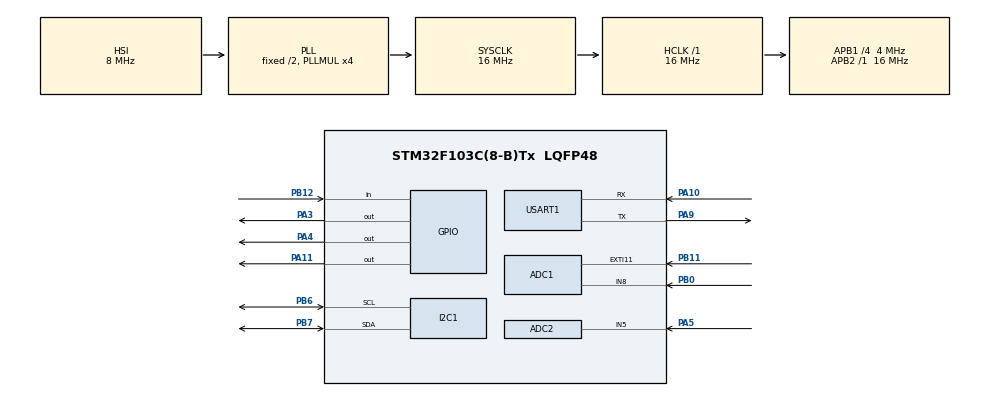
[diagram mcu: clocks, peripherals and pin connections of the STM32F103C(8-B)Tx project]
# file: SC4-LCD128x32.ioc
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ADC1.Channel-1\#ChannelRegularConversion=ADC_CHANNEL_8
ADC1.NbrOfConversionFlag=1
ADC1.Rank-1\#ChannelRegularConversion=1
ADC1.SamplingTime-1\#ChannelRegularConversion=ADC_SAMPLETIME_7CYCLES_5
ADC1.master=1
ADC2.Channel-0\#ChannelRegularConversion=ADC_CHANNEL_5
ADC2.NbrOfConversionFlag=1
ADC2.Rank-0\#ChannelRegularConversion=1
ADC2.SamplingTime-0\#ChannelRegularConversion=ADC_SAMPLETIME_1CYCLE_5
I2C1.I2C_Mode=I2C_Fast
Mcu.Family=STM32F1
Mcu.Name=STM32F103C(8-B)Tx
Mcu.Package=LQFP48
NVIC.ADC1_2_IRQn=true\:0\:0\:false\:false\:true\:true\:true
NVIC.PriorityGroup=NVIC_PRIORITYGROUP_4
NVIC.TIM3_IRQn=true\:1\:0\:true\:false\:true\:true\:true
PA10.Mode=Asynchronous
PA10.Signal=USART1_RX
PA11.Signal=GPIO_Output
PA3.Signal=GPIO_Output
PA4.Signal=GPIO_Output
PA5.Signal=ADCx_IN5
PA9.Mode=Asynchronous
PA9.Signal=USART1_TX
PB0.Signal=ADCx_IN8
PB11.Signal=GPXTI11
PB12.Signal=GPIO_Input
PB6.Mode=I2C
PB6.Signal=I2C1_SCL
PB7.Mode=I2C
PB7.Signal=I2C1_SDA
ProjectManager.HeapSize=0x200
ProjectManager.StackSize=0x400
ProjectManager.TargetToolchain=STM32CubeIDE
RCC.AHBFreq_Value=16000000
RCC.APB1CLKDivider=RCC_HCLK_DIV4
RCC.APB1Freq_Value=4000000
RCC.APB1TimFreq_Value=8000000
RCC.APB2Freq_Value=16000000
RCC.APB2TimFreq_Value=16000000
RCC.HCLKFreq_Value=16000000
RCC.PLLMUL=RCC_PLL_MUL4
RCC.SYSCLKFreq_VALUE=16000000
RCC.SYSCLKSource=RCC_SYSCLKSOURCE_PLLCLK
RCC.TimSys_Div=SYSTICK_CLKSOURCE_HCLK_DIV8
RCC.USBFreq_Value=16000000
SH.ADCx_IN5.0=ADC2_IN5,IN5
SH.ADCx_IN8.0=ADC1_IN8,IN8
TIM3.AutoReloadPreload=TIM_AUTORELOAD_PRELOAD_ENABLE
TIM3.CounterMode=TIM_COUNTERMODE_DOWN
TIM3.Period=5000
TIM3.Prescaler=8
USART1.VirtualMode=VM_ASYNC
VP_SYS_VS_ND.Mode=No_Debug
VP_TIM3_VS_ClockSourceINT.Mode=Internal
board=custom

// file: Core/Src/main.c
/* USER CODE BEGIN Header */
/**
  ******************************************************************************
  * @file           : main.c
  * @brief          : Main program body
  ******************************************************************************
  * @attention
  *
  * <h2><center>&copy; Copyright (c) 2020 STMicroelectronics.
  * All rights reserved.</center></h2>
  *
  * This software component is licensed by ST under BSD 3-Clause license,
  * the "License"; You may not use this file except in compliance with the
  * License. You may obtain a copy of the License at:
  *                        opensource.org/licenses/BSD-3-Clause
  *
  ******************************************************************************
  */
/* USER CODE END Header */
#include "main.h"

/* USER CODE BEGIN Includes */
#ifdef DISPLAY_ENABLE
#include "ssd1306.h"
#include "ssd1306_fonts.h"
#endif
#include <stdio.h>

/* USER CODE END Includes */

ADC_HandleTypeDef hadc1;
ADC_HandleTypeDef hadc2;

I2C_HandleTypeDef hi2c1;

TIM_HandleTypeDef htim3;

UART_HandleTypeDef huart1;

/* USER CODE BEGIN PV */
char counterPP[20];
_Bool initFlag = 1;
uint32_t counterCC = 0, counterALL = 0;
uint16_t adcResult = 0;
uint16_t spectrData[2050] = {0};
uint16_t spectrCRC;

/* USER CODE END PV */

void SystemClock_Config(void);
static void MX_GPIO_Init(void);
static void MX_ADC1_Init(void);
static void MX_I2C1_Init(void);
static void MX_USART1_UART_Init(void);
static void MX_TIM3_Init(void);
static void MX_ADC2_Init(void);

int main(void)
{

  /* MCU Configuration--------------------------------------------------------*/

  /* Reset of all peripherals, Initializes the Flash interface and the Systick. */
  HAL_Init();

  /* Configure the system clock */
  SystemClock_Config();

  /* Initialize all configured peripherals */
  MX_GPIO_Init();
  MX_ADC1_Init();
  MX_I2C1_Init();
  MX_USART1_UART_Init();
  MX_TIM3_Init();
  MX_ADC2_Init();
  /* USER CODE BEGIN 2 */
  HAL_ADCEx_Calibration_Start(&hadc1);
  /* USER CODE END 2 */

  /* Infinite loop */
  /* USER CODE BEGIN WHILE */
  int j = 0;
  uint8_t btCommand[10];
  uint8_t prefix[3] = {'<', 'B', '>'};
  uint8_t lowSpectr, highSpectr;
#ifdef DISPLAY_ENABLE
  ssd1306_Init();
#endif
  uint16_t tmpData;
  uint32_t initDelay, oldTimeAll, oldTime = HAL_GetTick();
  initDelay = oldTime;
  oldTimeAll = oldTime;
  counterCC = 0;
  HAL_GPIO_WritePin(GPIOA, LED_PIN, GPIO_PIN_SET); // LED on.
  HAL_TIM_Base_Start_IT(&htim3); // Start timer for turn off LED

  while (1)
  {
#ifdef DISPLAY_ENABLE
	  sprintf(counterPP, "CPS:%lu CNT:%lu", counterCC / ((HAL_GetTick() - oldTime) / 1000), counterALL);
	  counterCC = 0;
	  oldTime = HAL_GetTick();
	  ssd1306_SetCursor(0, 0);
	  ssd1306_WriteString(counterPP, Font_6x8, 0x01);
#endif
	  int ttt, max = 1;
	  for ( int i = 2; i < 2050; i++) {
		  ttt = spectrData[i];
		  if ((float) ttt > max)
			  max = ttt;
	  }
#ifdef DISPLAY_ENABLE
	  sprintf(counterPP, "AVG:%lu MAX:%d", counterALL / ((HAL_GetTick() - oldTimeAll) / 1000), max);
	  ssd1306_SetCursor(0, 8);
	  ssd1306_WriteString(counterPP, Font_6x8, 0x01);

	  sprintf(counterPP, "TM:%lu",(HAL_GetTick() - oldTimeAll) / 1000);
	  ssd1306_SetCursor(0, 16);
	  ssd1306_WriteString(counterPP, Font_6x8, 0x01);
#endif
	/*
	  //
	  // Гистограмма для LCD 64x128.
	  //
	  int k = 0;
	  for ( int i = 0; i < 119; i++) {
		  sptDat =(float) ((spectrData[k++] + spectrData[k++] + spectrData[k++]) * 64 / max);
		  //sptDat = (float) (log2f((float) spectrData[i]) * 64 / max);
		  ssd1306_Line(0, i + 9, 64, i + 9, 0x00);
		  ssd1306_Line(0, i + 9, sptDat, i + 9, 0x01);
	  }
	  */
#ifdef DISPLAY_ENABLE
	  ssd1306_UpdateScreen();
#endif
	  // Delay after on.
	  if (initFlag && (HAL_GetTick() - initDelay > INIT_TIME)) {
		  initFlag = 0;
		  HAL_ADC_Start_IT(&hadc1);  // Init ADC.
		  oldTimeAll = HAL_GetTick();
	  }
	  /* Status JDY-23, BT connected ? */
#ifdef DISPLAY_ENABLE
	  ssd1306_SetCursor(0, 24);
#endif
	  if ( HAL_GPIO_ReadPin(GPIOB, GPIO_PIN_12) == 1 ) {
#ifdef DISPLAY_ENABLE
		  ssd1306_WriteString("BT: connect   ", Font_6x8, 0x01);
#endif
		  // Control from BT
		  if(HAL_UART_Receive(&huart1, btCommand, 1, 10) == HAL_OK) {
			  if ( btCommand[0] == 'C' ) { // Clear all measurement.
				  for (int i = 0; i < 2050; i++) {
					  spectrData[i] = 0;
				  }
				  oldTimeAll = HAL_GetTick();
				  counterALL = 0;
			  }
		  }

		  j = 0;
		  // Transmit data over BT.
		  HAL_UART_Transmit(&huart1, prefix, 3, 1000); // Start sequence.
		  spectrData[0] = (uint16_t) ((HAL_GetTick() - oldTimeAll) / 1000); // Specter collection time.
		  spectrData[1] = (uint16_t) (((HAL_GetTick() - oldTimeAll) / 1000) >> 16);
		  spectrData[2] = (uint16_t) (counterALL & 0xFFFF);
		  spectrData[3] = (uint16_t) (counterALL >> 16);
		  spectrCRC = 0;
		  HAL_Delay(TRANSMIT_DALAY);  // Increase time delay if transmit error.
		  for ( int i = 0; i < 1040; i++) {
			  lowSpectr = spectrData[i] & 0xFF;
			  highSpectr = (spectrData[i] & 0xFF00) >> 8;
			  spectrCRC = spectrCRC + lowSpectr + highSpectr;
			  HAL_UART_Transmit(&huart1, &highSpectr, 1, 1000);
			  HAL_UART_Transmit(&huart1, &lowSpectr, 1, 1000);
			  if ( j++ >= 9) {
				  HAL_Delay(TRANSMIT_DALAY);  // Increase time delay if transmit error.
				  j = 0;
			  }
		  }
		  /* Transmit CRC */
		  HAL_Delay(TRANSMIT_DALAY);
		  lowSpectr = spectrCRC & 0xFF;
		  highSpectr = (spectrCRC & 0xFF00) >> 8;
		  HAL_UART_Transmit(&huart1, &highSpectr, 1, 1000);
		  HAL_UART_Transmit(&huart1, &lowSpectr, 1, 1000);
	  } else {
#ifdef DISPLAY_ENABLE
		  HAL_Delay(500);
		  ssd1306_WriteString("BT: disconnect", Font_6x8, 0x01);
#endif
	  }
	  HAL_Delay(500);

    /* USER CODE END WHILE */

  }
}

void SystemClock_Config(void)
{
  RCC_OscInitTypeDef RCC_OscInitStruct = {0};
  RCC_ClkInitTypeDef RCC_ClkInitStruct = {0};
  RCC_PeriphCLKInitTypeDef PeriphClkInit = {0};

  /** Initializes the RCC Oscillators according to the specified parameters
  * in the RCC_OscInitTypeDef structure.
  */
  RCC_OscInitStruct.OscillatorType = RCC_OSCILLATORTYPE_HSI;
  RCC_OscInitStruct.HSIState = RCC_HSI_ON;
  RCC_OscInitStruct.HSICalibrationValue = RCC_HSICALIBRATION_DEFAULT;
  RCC_OscInitStruct.PLL.PLLState = RCC_PLL_ON;
  RCC_OscInitStruct.PLL.PLLSource = RCC_PLLSOURCE_HSI_DIV2;
  RCC_OscInitStruct.PLL.PLLMUL = RCC_PLL_MUL4;
  if (HAL_RCC_OscConfig(&RCC_OscInitStruct) != HAL_OK)
  {
    Error_Handler();
  }
  /** Initializes the CPU, AHB and APB buses clocks
  */
  RCC_ClkInitStruct.ClockType = RCC_CLOCKTYPE_HCLK|RCC_CLOCKTYPE_SYSCLK
                              |RCC_CLOCKTYPE_PCLK1|RCC_CLOCKTYPE_PCLK2;
  RCC_ClkInitStruct.SYSCLKSource = RCC_SYSCLKSOURCE_PLLCLK;
  RCC_ClkInitStruct.AHBCLKDivider = RCC_SYSCLK_DIV1;
  RCC_ClkInitStruct.APB1CLKDivider = RCC_HCLK_DIV4;
  RCC_ClkInitStruct.APB2CLKDivider = RCC_HCLK_DIV1;

  if (HAL_RCC_ClockConfig(&RCC_ClkInitStruct, FLASH_LATENCY_0) != HAL_OK)
  {
    Error_Handler();
  }
  PeriphClkInit.PeriphClockSelection = RCC_PERIPHCLK_ADC;
  PeriphClkInit.AdcClockSelection = RCC_ADCPCLK2_DIV2;
  if (HAL_RCCEx_PeriphCLKConfig(&PeriphClkInit) != HAL_OK)
  {
    Error_Handler();
  }
}

static void MX_ADC1_Init(void)
{

  ADC_ChannelConfTypeDef sConfig = {0};

  /** Common config
  */
  hadc1.Instance = ADC1;
  hadc1.Init.ScanConvMode = ADC_SCAN_DISABLE;
  hadc1.Init.ContinuousConvMode = DISABLE;
  hadc1.Init.DiscontinuousConvMode = DISABLE;
  hadc1.Init.ExternalTrigConv = ADC_EXTERNALTRIGCONV_EXT_IT11;
  hadc1.Init.DataAlign = ADC_DATAALIGN_RIGHT;
  hadc1.Init.NbrOfConversion = 1;
  if (HAL_ADC_Init(&hadc1) != HAL_OK)
  {
    Error_Handler();
  }
  /** Configure Regular Channel
  */
  sConfig.Channel = ADC_CHANNEL_8;
  sConfig.Rank = ADC_REGULAR_RANK_1;
  sConfig.SamplingTime = ADC_SAMPLETIME_7CYCLES_5;
  if (HAL_ADC_ConfigChannel(&hadc1, &sConfig) != HAL_OK)
  {
    Error_Handler();
  }

}

static void MX_ADC2_Init(void)
{

  ADC_ChannelConfTypeDef sConfig = {0};

  /** Common config
  */
  hadc2.Instance = ADC2;
  hadc2.Init.ScanConvMode = ADC_SCAN_DISABLE;
  hadc2.Init.ContinuousConvMode = DISABLE;
  hadc2.Init.DiscontinuousConvMode = DISABLE;
  hadc2.Init.ExternalTrigConv = ADC_SOFTWARE_START;
  hadc2.Init.DataAlign = ADC_DATAALIGN_RIGHT;
  hadc2.Init.NbrOfConversion = 1;
  if (HAL_ADC_Init(&hadc2) != HAL_OK)
  {
    Error_Handler();
  }
  /** Configure Regular Channel
  */
  sConfig.Channel = ADC_CHANNEL_5;
  sConfig.Rank = ADC_REGULAR_RANK_1;
  sConfig.SamplingTime = ADC_SAMPLETIME_1CYCLE_5;
  if (HAL_ADC_ConfigChannel(&hadc2, &sConfig) != HAL_OK)
  {
    Error_Handler();
  }

}

static void MX_I2C1_Init(void)
{

  hi2c1.Instance = I2C1;
  hi2c1.Init.ClockSpeed = 400000;
  hi2c1.Init.DutyCycle = I2C_DUTYCYCLE_2;
  hi2c1.Init.OwnAddress1 = 0;
  hi2c1.Init.AddressingMode = I2C_ADDRESSINGMODE_7BIT;
  hi2c1.Init.DualAddressMode = I2C_DUALADDRESS_DISABLE;
  hi2c1.Init.OwnAddress2 = 0;
  hi2c1.Init.GeneralCallMode = I2C_GENERALCALL_DISABLE;
  hi2c1.Init.NoStretchMode = I2C_NOSTRETCH_DISABLE;
  if (HAL_I2C_Init(&hi2c1) != HAL_OK)
  {
    Error_Handler();
  }

}

static void MX_TIM3_Init(void)
{

  TIM_ClockConfigTypeDef sClockSourceConfig = {0};
  TIM_MasterConfigTypeDef sMasterConfig = {0};

  htim3.Instance = TIM3;
  htim3.Init.Prescaler = 8;
  htim3.Init.CounterMode = TIM_COUNTERMODE_DOWN;
  htim3.Init.Period = 5000;
  htim3.Init.ClockDivision = TIM_CLOCKDIVISION_DIV1;
  htim3.Init.AutoReloadPreload = TIM_AUTORELOAD_PRELOAD_ENABLE;
  if (HAL_TIM_Base_Init(&htim3) != HAL_OK)
  {
    Error_Handler();
  }
  sClockSourceConfig.ClockSource = TIM_CLOCKSOURCE_INTERNAL;
  if (HAL_TIM_ConfigClockSource(&htim3, &sClockSourceConfig) != HAL_OK)
  {
    Error_Handler();
  }
  sMasterConfig.MasterOutputTrigger = TIM_TRGO_RESET;
  sMasterConfig.MasterSlaveMode = TIM_MASTERSLAVEMODE_DISABLE;
  if (HAL_TIMEx_MasterConfigSynchronization(&htim3, &sMasterConfig) != HAL_OK)
  {
    Error_Handler();
  }

}

static void MX_USART1_UART_Init(void)
{

  huart1.Instance = USART1;
  huart1.Init.BaudRate = 115200;
  huart1.Init.WordLength = UART_WORDLENGTH_8B;
  huart1.Init.StopBits = UART_STOPBITS_1;
  huart1.Init.Parity = UART_PARITY_NONE;
  huart1.Init.Mode = UART_MODE_TX_RX;
  huart1.Init.HwFlowCtl = UART_HWCONTROL_NONE;
  huart1.Init.OverSampling = UART_OVERSAMPLING_16;
  if (HAL_UART_Init(&huart1) != HAL_OK)
  {
    Error_Handler();
  }

}

static void MX_GPIO_Init(void)
{
  GPIO_InitTypeDef GPIO_InitStruct = {0};

  /* GPIO Ports Clock Enable */
  __HAL_RCC_GPIOA_CLK_ENABLE();
  __HAL_RCC_GPIOB_CLK_ENABLE();

  /*Configure GPIO pin Output Level */
  HAL_GPIO_WritePin(GPIOA, GPIO_PIN_3|GPIO_PIN_4|GPIO_PIN_11, GPIO_PIN_RESET);

  /*Configure GPIO pins : PA3 PA4 PA11 */
  GPIO_InitStruct.Pin = GPIO_PIN_3|GPIO_PIN_4|GPIO_PIN_11;
  GPIO_InitStruct.Mode = GPIO_MODE_OUTPUT_PP;
  GPIO_InitStruct.Pull = GPIO_NOPULL;
  GPIO_InitStruct.Speed = GPIO_SPEED_FREQ_LOW;
  HAL_GPIO_Init(GPIOA, &GPIO_InitStruct);

  /*Configure GPIO pin : PB11 */
  GPIO_InitStruct.Pin = GPIO_PIN_11;
  GPIO_InitStruct.Mode = GPIO_MODE_IT_RISING;
  GPIO_InitStruct.Pull = GPIO_NOPULL;
  HAL_GPIO_Init(GPIOB, &GPIO_InitStruct);

  /*Configure GPIO pin : PB12 */
  GPIO_InitStruct.Pin = GPIO_PIN_12;
  GPIO_InitStruct.Mode = GPIO_MODE_INPUT;
  GPIO_InitStruct.Pull = GPIO_NOPULL;
  HAL_GPIO_Init(GPIOB, &GPIO_InitStruct);

}

void Error_Handler(void)
{
}

/************************ (C) COPYRIGHT STMicroelectronics *****END OF FILE****/
